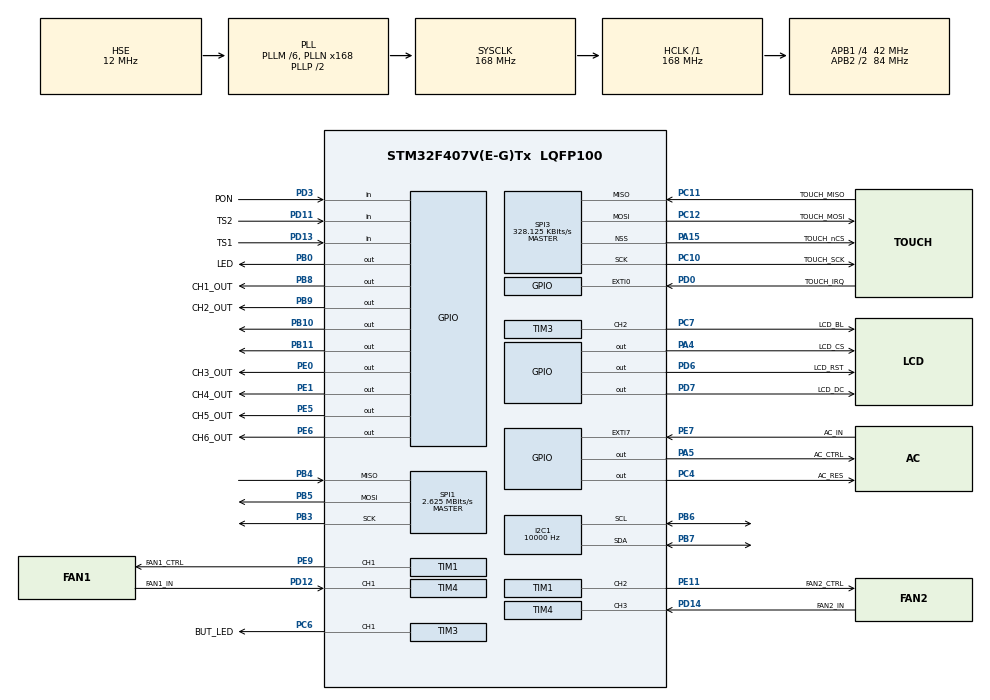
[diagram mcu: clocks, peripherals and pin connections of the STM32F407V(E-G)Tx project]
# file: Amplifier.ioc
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Dma.Request0=SPI1_TX
Dma.SPI1_TX.0.Direction=DMA_MEMORY_TO_PERIPH
Dma.SPI1_TX.0.FIFOMode=DMA_FIFOMODE_DISABLE
Dma.SPI1_TX.0.Instance=DMA2_Stream5
Dma.SPI1_TX.0.MemDataAlignment=DMA_MDATAALIGN_BYTE
Dma.SPI1_TX.0.MemInc=DMA_MINC_ENABLE
Dma.SPI1_TX.0.Mode=DMA_NORMAL
Dma.SPI1_TX.0.PeriphDataAlignment=DMA_PDATAALIGN_BYTE
Dma.SPI1_TX.0.PeriphInc=DMA_PINC_DISABLE
Dma.SPI1_TX.0.Priority=DMA_PRIORITY_VERY_HIGH
FREERTOS.Queues01=displayQueue,16,uint16_t,0,Dynamic,NULL,NULL;fanQueue,16,uint16_t,0,Dynamic,NULL,NULL
FREERTOS.Tasks01=idleTask,24,128,idleTaskEntry,Default,NULL,Dynamic,NULL,NULL;buttonTask,24,512,buttonTaskEntry,As external,NULL,Dynamic,NULL,NULL;fanTask,24,512,fanTaskEntry,As external,NULL,Dynamic,NULL,NULL;displayTask,24,512,displayTaskEntry,As external,NULL,Dynamic,NULL,NULL;touchTask,24,128,touchTaskEntry,As external,NULL,Dynamic,NULL,NULL;dspTask,24,128,dspTaskEntry,As external,NULL,Dynamic,NULL,NULL;sensorATask,24,128,sensorATaskEntry,As external,NULL,Dynamic,NULL,NULL
FREERTOS.configUSE_NEWLIB_REENTRANT=1
I2C1.ClockSpeed=10000
Mcu.Family=STM32F4
Mcu.Name=STM32F407V(E-G)Tx
Mcu.Package=LQFP100
NVIC.DMA2_Stream5_IRQn=true\:5\:0\:false\:false\:true\:false\:false\:true
NVIC.EXTI9_5_IRQn=true\:5\:0\:false\:false\:true\:true\:true\:true
NVIC.PriorityGroup=NVIC_PRIORITYGROUP_4
NVIC.TIM1_BRK_TIM9_IRQn=true\:5\:0\:false\:false\:true\:false\:false\:true
NVIC.TIM1_UP_TIM10_IRQn=true\:0\:0\:false\:false\:true\:false\:true\:true
NVIC.TimeBase=TIM1_UP_TIM10_IRQn
NVIC.TimeBaseIP=TIM10
PA13.Mode=Trace_Synchro_2bits_SW
PA13.Signal=SYS_JTMS-SWDIO
PA14.Mode=Trace_Synchro_2bits_SW
PA14.Signal=SYS_JTCK-SWCLK
PA15.GPIO_Label=TOUCH_nCS
PA15.GPIO_PuPd=GPIO_PULLUP
PA15.Mode=NSS_Signal_Hard_Output
PA15.Signal=SPI3_NSS
PA4.GPIO_Label=LCD_CS
PA4.GPIO_PuPd=GPIO_PULLUP
PA4.GPIO_Speed=GPIO_SPEED_FREQ_VERY_HIGH
PA4.PinState=GPIO_PIN_SET
PA4.Signal=GPIO_Output
PA5.GPIO_Label=AC_CTRL
PA5.GPIO_PuPd=GPIO_PULLDOWN
PA5.Signal=GPIO_Output
PB0.GPIO_Label=LED
PB0.Signal=GPIO_Output
PB10.GPIO_Speed=GPIO_SPEED_FREQ_VERY_HIGH
PB10.Signal=GPIO_Output
PB11.GPIO_Speed=GPIO_SPEED_FREQ_VERY_HIGH
PB11.Signal=GPIO_Output
PB3.GPIO_Mode=GPIO_MODE_AF_PP
PB3.GPIO_PuPd=GPIO_PULLUP
PB3.GPIO_Speed=GPIO_SPEED_FREQ_VERY_HIGH
PB3.Mode=Full_Duplex_Master
PB3.Signal=SPI1_SCK
PB4.GPIO_Mode=GPIO_MODE_AF_PP
PB4.GPIO_PuPd=GPIO_PULLUP
PB4.GPIO_Speed=GPIO_SPEED_FREQ_VERY_HIGH
PB4.Mode=Full_Duplex_Master
PB4.Signal=SPI1_MISO
PB5.GPIO_Mode=GPIO_MODE_AF_PP
PB5.GPIO_PuPd=GPIO_PULLUP
PB5.GPIO_Speed=GPIO_SPEED_FREQ_VERY_HIGH
PB5.Mode=Full_Duplex_Master
PB5.Signal=SPI1_MOSI
PB6.GPIO_Pu=GPIO_PULLUP
PB6.Mode=I2C
PB6.Signal=I2C1_SCL
PB7.GPIO_Pu=GPIO_PULLUP
PB7.Mode=I2C
PB7.Signal=I2C1_SDA
PB8.GPIO_Label=CH1_OUT
PB8.Signal=GPIO_Output
PB9.GPIO_Label=CH2_OUT
PB9.Signal=GPIO_Output
PC10.GPIO_Label=TOUCH_SCK
PC10.GPIO_PuPd=GPIO_PULLUP
PC10.Mode=Full_Duplex_Master
PC10.Signal=SPI3_SCK
PC11.GPIO_Label=TOUCH_MISO
PC11.GPIO_PuPd=GPIO_PULLUP
PC11.Mode=Full_Duplex_Master
PC11.Signal=SPI3_MISO
PC12.GPIO_Label=TOUCH_MOSI
PC12.GPIO_PuPd=GPIO_PULLUP
PC12.Mode=Full_Duplex_Master
PC12.Signal=SPI3_MOSI
PC2.GPIO_Label=CH5
PC2.Signal=ADCx_IN12
PC3.GPIO_Label=CH6
PC3.Signal=ADCx_IN13
PC4.GPIO_Label=AC_RES
PC4.GPIO_PuPd=GPIO_PULLDOWN
PC4.Signal=GPIO_Output
PC6.GPIO_Label=BUT_LED
PC6.Signal=S_TIM3_CH1
PC7.GPIO_Label=LCD_BL
PC7.Signal=S_TIM3_CH2
PD0.GPIO_Label=TOUCH_IRQ
PD0.GPIO_PuPd=GPIO_PULLUP
PD0.Signal=GPXTI0
PD11.GPIO_Label=TS2
PD11.Signal=GPIO_Input
PD12.GPIO_Label=FAN1_IN
PD12.Signal=S_TIM4_CH1
PD13.GPIO_Label=TS1
PD13.Signal=GPIO_Input
PD14.GPIO_Label=FAN2_IN
PD14.Signal=S_TIM4_CH3
PD3.GPIO_Label=PON
PD3.GPIO_PuPd=GPIO_PULLUP
PD3.Signal=GPIO_Input
PD6.GPIO_Label=LCD_RST
PD6.GPIO_PuPd=GPIO_PULLUP
PD6.PinState=GPIO_PIN_SET
PD6.Signal=GPIO_Output
PD7.GPIO_Label=LCD_DC
PD7.GPIO_ModeDefaultOutputPP=GPIO_MODE_OUTPUT_PP
PD7.GPIO_PuPd=GPIO_PULLUP
PD7.GPIO_Speed=GPIO_SPEED_FREQ_VERY_HIGH
PD7.PinState=GPIO_PIN_SET
PD7.Signal=GPIO_Output
PE0.GPIO_Label=CH3_OUT
PE0.Signal=GPIO_Output
PE1.GPIO_Label=CH4_OUT
PE1.Signal=GPIO_Output
PE11.GPIO_Label=FAN2_CTRL
PE11.Signal=S_TIM1_CH2
PE2.Mode=Trace_Synchro_2bits_SW
PE2.Signal=SYS_TRACECLK
PE3.Mode=Trace_Synchro_2bits_SW
PE3.Signal=SYS_TRACED0
PE4.Mode=Trace_Synchro_2bits_SW
PE4.Signal=SYS_TRACED1
PE5.GPIO_Label=CH5_OUT
PE5.Signal=GPIO_Output
PE6.GPIO_Label=CH6_OUT
PE6.Signal=GPIO_Output
PE7.GPIO_Label=AC_IN
PE7.GPIO_PuPd=GPIO_PULLUP
PE7.Signal=GPXTI7
PE9.GPIO_Label=FAN1_CTRL
PE9.Signal=S_TIM1_CH1
PH0-OSC_IN.Mode=HSE-External-Oscillator
PH0-OSC_IN.Signal=RCC_OSC_IN
PH1-OSC_OUT.Mode=HSE-External-Oscillator
PH1-OSC_OUT.Signal=RCC_OSC_OUT
ProjectManager.HeapSize=0x200
ProjectManager.StackSize=0x400
ProjectManager.TargetToolchain=STM32CubeIDE
RCC.48MHZClocksFreq_Value=48000000
RCC.AHBFreq_Value=168000000
RCC.APB1CLKDivider=RCC_HCLK_DIV4
RCC.APB1Freq_Value=42000000
RCC.APB1TimFreq_Value=84000000
RCC.APB2CLKDivider=RCC_HCLK_DIV2
RCC.APB2Freq_Value=84000000
RCC.APB2TimFreq_Value=168000000
RCC.CortexFreq_Value=168000000
RCC.HCLKFreq_Value=168000000
RCC.HSE_VALUE=12000000
RCC.HSICalibrationValue=8
RCC.HSI_VALUE=16000000
RCC.LSE_VALUE=32768
RCC.PLLM=6
RCC.PLLN=168
RCC.PLLQ=7
RCC.PLLSourceVirtual=RCC_PLLSOURCE_HSE
RCC.SYSCLKFreq_VALUE=168000000
RCC.SYSCLKSource=RCC_SYSCLKSOURCE_PLLCLK
RCC.VCOOutputFreq_Value=336000000
SH.ADCx_IN12.0=ADC3_IN12
SH.ADCx_IN13.0=ADC3_IN13
SH.S_TIM1_CH1.0=TIM1_CH1,PWM Generation1 CH1
SH.S_TIM1_CH2.0=TIM1_CH2,PWM Generation2 CH2
SH.S_TIM3_CH1.0=TIM3_CH1,PWM Generation1 CH1
SH.S_TIM3_CH2.0=TIM3_CH2,PWM Generation2 CH2
SH.S_TIM4_CH1.0=TIM4_CH1,Input_Capture1_from_TI1
SH.S_TIM4_CH3.0=TIM4_CH3,Input_Capture3_from_TI3
SPI1.BaudRatePrescaler=SPI_BAUDRATEPRESCALER_32
SPI1.CLKPhase=SPI_PHASE_1EDGE
SPI1.CLKPolarity=SPI_POLARITY_LOW
SPI1.CalculateBaudRate=2.625 MBits/s
SPI1.DataSize=SPI_DATASIZE_8BIT
SPI1.Direction=SPI_DIRECTION_2LINES
SPI1.Mode=SPI_MODE_MASTER
SPI1.VirtualType=VM_MASTER
SPI3.BaudRatePrescaler=SPI_BAUDRATEPRESCALER_128
SPI3.CalculateBaudRate=328.125 KBits/s
SPI3.Direction=SPI_DIRECTION_2LINES
SPI3.Mode=SPI_MODE_MASTER
SPI3.VirtualNSS=VM_NSSHARD
SPI3.VirtualType=VM_MASTER
TIM1.AutoReloadPreload=TIM_AUTORELOAD_PRELOAD_ENABLE
TIM1.Channel-PWM\ Generation1\ CH1=TIM_CHANNEL_1
TIM1.Channel-PWM\ Generation2\ CH2=TIM_CHANNEL_2
TIM1.ClockDivision=TIM_CLOCKDIVISION_DIV4
TIM1.Period=6700
TIM3.Channel-PWM\ Generation1\ CH1=TIM_CHANNEL_1
TIM3.Channel-PWM\ Generation2\ CH2=TIM_CHANNEL_2
TIM4.Channel-Input_Capture1_from_TI1=TIM_CHANNEL_1
TIM4.Channel-Input_Capture3_from_TI3=TIM_CHANNEL_3
TIM5.AutoReloadPreload=TIM_AUTORELOAD_PRELOAD_DISABLE
TIM5.Period=0xFFFFFFFE
TIM5.Prescaler=84-1
VP_FREERTOS_VS_CMSIS_V2.Mode=CMSIS_V2
VP_RTC_VS_RTC_Activate.Mode=RTC_Enabled
VP_SYS_VS_tim10.Mode=TIM10
VP_TIM1_VS_ClockSourceINT.Mode=Internal
VP_TIM4_VS_ClockSourceINT.Mode=Internal
VP_TIM5_VS_ClockSourceINT.Mode=Internal
board=custom

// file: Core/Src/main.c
/* USER CODE BEGIN Header */
/**
  ******************************************************************************
  * @file           : main.c
  * @brief          : Main program body
  ******************************************************************************
  * @attention
  *
  * <h2><center>&copy; Copyright (c) 2021 STMicroelectronics.
  * All rights reserved.</center></h2>
  *
  * This software component is licensed by ST under Ultimate Liberty license
  * SLA0044, the "License"; You may not use this file except in compliance with
  * the License. You may obtain a copy of the License at:
  *                             www.st.com/SLA0044
  *
  ******************************************************************************
  */
/* USER CODE END Header */
#include "main.h"
#include "cmsis_os.h"

/* USER CODE BEGIN PD */
extern uint8_t touch_pending;
extern uint8_t state;
I2C_HandleTypeDef hi2c2;
static void MX_I2C2_Init(void);
/* USER CODE END PD */

I2C_HandleTypeDef hi2c1;

RTC_HandleTypeDef hrtc;

SPI_HandleTypeDef hspi1;
SPI_HandleTypeDef hspi3;
DMA_HandleTypeDef hdma_spi1_tx;

TIM_HandleTypeDef htim1;
TIM_HandleTypeDef htim3;
TIM_HandleTypeDef htim4;
TIM_HandleTypeDef htim5;

/* Definitions for idleTask */
osThreadId_t idleTaskHandle;
const osThreadAttr_t idleTask_attributes = {
  .name = "idleTask",
  .stack_size = 128 * 4,
  .priority = (osPriority_t) osPriorityNormal,
};
/* Definitions for buttonTask */
osThreadId_t buttonTaskHandle;
const osThreadAttr_t buttonTask_attributes = {
  .name = "buttonTask",
  .stack_size = 512 * 4,
  .priority = (osPriority_t) osPriorityNormal,
};
/* Definitions for fanTask */
osThreadId_t fanTaskHandle;
const osThreadAttr_t fanTask_attributes = {
  .name = "fanTask",
  .stack_size = 512 * 4,
  .priority = (osPriority_t) osPriorityNormal,
};
/* Definitions for displayTask */
osThreadId_t displayTaskHandle;
const osThreadAttr_t displayTask_attributes = {
  .name = "displayTask",
  .stack_size = 512 * 4,
  .priority = (osPriority_t) osPriorityNormal,
};
/* Definitions for touchTask */
osThreadId_t touchTaskHandle;
const osThreadAttr_t touchTask_attributes = {
  .name = "touchTask",
  .stack_size = 128 * 4,
  .priority = (osPriority_t) osPriorityNormal,
};
/* Definitions for dspTask */
osThreadId_t dspTaskHandle;
const osThreadAttr_t dspTask_attributes = {
  .name = "dspTask",
  .stack_size = 128 * 4,
  .priority = (osPriority_t) osPriorityNormal,
};
/* Definitions for sensorATask */
osThreadId_t sensorATaskHandle;
const osThreadAttr_t sensorATask_attributes = {
  .name = "sensorATask",
  .stack_size = 128 * 4,
  .priority = (osPriority_t) osPriorityNormal,
};
/* Definitions for displayQueue */
osMessageQueueId_t displayQueueHandle;
const osMessageQueueAttr_t displayQueue_attributes = {
  .name = "displayQueue"
};
/* Definitions for fanQueue */
osMessageQueueId_t fanQueueHandle;
const osMessageQueueAttr_t fanQueue_attributes = {
  .name = "fanQueue"
};

void SystemClock_Config(void);
static void MX_GPIO_Init(void);
static void MX_DMA_Init(void);
static void MX_RTC_Init(void);
static void MX_SPI1_Init(void);
static void MX_SPI3_Init(void);
static void MX_TIM1_Init(void);
static void MX_TIM3_Init(void);
static void MX_TIM4_Init(void);
static void MX_TIM5_Init(void);
static void MX_I2C1_Init(void);
void idleTaskEntry(void *argument);
extern void buttonTaskEntry(void *argument);
extern void fanTaskEntry(void *argument);
extern void displayTaskEntry(void *argument);
extern void touchTaskEntry(void *argument);
extern void dspTaskEntry(void *argument);
extern void sensorATaskEntry(void *argument);

int main(void)
{

  /* MCU Configuration--------------------------------------------------------*/

  /* Reset of all peripherals, Initializes the Flash interface and the Systick. */
  HAL_Init();

  /* Configure the system clock */
  SystemClock_Config();

  /* Initialize all configured peripherals */
  MX_GPIO_Init();
  MX_DMA_Init();
  MX_RTC_Init();
  MX_SPI1_Init();
  MX_SPI3_Init();
  MX_TIM1_Init();
  MX_TIM3_Init();
  MX_TIM4_Init();
  MX_TIM5_Init();
  MX_I2C1_Init();
  /* USER CODE BEGIN 2 */
  //MX_I2C2_Init();
  /* USER CODE END 2 */

  /* Init scheduler */
  osKernelInitialize();

  /* Create the queue(s) */
  /* creation of displayQueue */
  displayQueueHandle = osMessageQueueNew (16, sizeof(uint16_t), &displayQueue_attributes);

  /* creation of fanQueue */
  fanQueueHandle = osMessageQueueNew (16, sizeof(uint16_t), &fanQueue_attributes);

  /* Create the thread(s) */
  /* creation of idleTask */
  idleTaskHandle = osThreadNew(idleTaskEntry, NULL, &idleTask_attributes);

  /* creation of buttonTask */
  buttonTaskHandle = osThreadNew(buttonTaskEntry, NULL, &buttonTask_attributes);

  /* creation of fanTask */
  fanTaskHandle = osThreadNew(fanTaskEntry, NULL, &fanTask_attributes);

  /* creation of displayTask */
  displayTaskHandle = osThreadNew(displayTaskEntry, NULL, &displayTask_attributes);

  /* creation of touchTask */
  touchTaskHandle = osThreadNew(touchTaskEntry, NULL, &touchTask_attributes);

  /* creation of dspTask */
  dspTaskHandle = osThreadNew(dspTaskEntry, NULL, &dspTask_attributes);

  /* creation of sensorATask */
  sensorATaskHandle = osThreadNew(sensorATaskEntry, NULL, &sensorATask_attributes);

  /* Start scheduler */
  osKernelStart();

  /* We should never get here as control is now taken by the scheduler */
  /* Infinite loop */
  while (1)
  {

  }
}

void SystemClock_Config(void)
{
  RCC_OscInitTypeDef RCC_OscInitStruct = {0};
  RCC_ClkInitTypeDef RCC_ClkInitStruct = {0};

  /** Configure the main internal regulator output voltage
  */
  __HAL_RCC_PWR_CLK_ENABLE();
  __HAL_PWR_VOLTAGESCALING_CONFIG(PWR_REGULATOR_VOLTAGE_SCALE1);
  /** Initializes the RCC Oscillators according to the specified parameters
  * in the RCC_OscInitTypeDef structure.
  */
  RCC_OscInitStruct.OscillatorType = RCC_OSCILLATORTYPE_LSI|RCC_OSCILLATORTYPE_HSE;
  RCC_OscInitStruct.HSEState = RCC_HSE_ON;
  RCC_OscInitStruct.LSIState = RCC_LSI_ON;
  RCC_OscInitStruct.PLL.PLLState = RCC_PLL_ON;
  RCC_OscInitStruct.PLL.PLLSource = RCC_PLLSOURCE_HSE;
  RCC_OscInitStruct.PLL.PLLM = 6;
  RCC_OscInitStruct.PLL.PLLN = 168;
  RCC_OscInitStruct.PLL.PLLP = RCC_PLLP_DIV2;
  RCC_OscInitStruct.PLL.PLLQ = 7;
  if (HAL_RCC_OscConfig(&RCC_OscInitStruct) != HAL_OK)
  {
    Error_Handler();
  }
  /** Initializes the CPU, AHB and APB buses clocks
  */
  RCC_ClkInitStruct.ClockType = RCC_CLOCKTYPE_HCLK|RCC_CLOCKTYPE_SYSCLK
                              |RCC_CLOCKTYPE_PCLK1|RCC_CLOCKTYPE_PCLK2;
  RCC_ClkInitStruct.SYSCLKSource = RCC_SYSCLKSOURCE_PLLCLK;
  RCC_ClkInitStruct.AHBCLKDivider = RCC_SYSCLK_DIV1;
  RCC_ClkInitStruct.APB1CLKDivider = RCC_HCLK_DIV4;
  RCC_ClkInitStruct.APB2CLKDivider = RCC_HCLK_DIV2;

  if (HAL_RCC_ClockConfig(&RCC_ClkInitStruct, FLASH_LATENCY_5) != HAL_OK)
  {
    Error_Handler();
  }
}

static void MX_I2C1_Init(void)
{

  hi2c1.Instance = I2C1;
  hi2c1.Init.ClockSpeed = 10000;
  hi2c1.Init.DutyCycle = I2C_DUTYCYCLE_2;
  hi2c1.Init.OwnAddress1 = 0;
  hi2c1.Init.AddressingMode = I2C_ADDRESSINGMODE_7BIT;
  hi2c1.Init.DualAddressMode = I2C_DUALADDRESS_DISABLE;
  hi2c1.Init.OwnAddress2 = 0;
  hi2c1.Init.GeneralCallMode = I2C_GENERALCALL_DISABLE;
  hi2c1.Init.NoStretchMode = I2C_NOSTRETCH_DISABLE;
  if (HAL_I2C_Init(&hi2c1) != HAL_OK)
  {
    Error_Handler();
  }

}

static void MX_RTC_Init(void)
{

  /** Initialize RTC Only
  */
  hrtc.Instance = RTC;
  hrtc.Init.HourFormat = RTC_HOURFORMAT_24;
  hrtc.Init.AsynchPrediv = 127;
  hrtc.Init.SynchPrediv = 255;
  hrtc.Init.OutPut = RTC_OUTPUT_DISABLE;
  hrtc.Init.OutPutPolarity = RTC_OUTPUT_POLARITY_HIGH;
  hrtc.Init.OutPutType = RTC_OUTPUT_TYPE_OPENDRAIN;
  if (HAL_RTC_Init(&hrtc) != HAL_OK)
  {
    Error_Handler();
  }

}

static void MX_SPI1_Init(void)
{

  /* SPI1 parameter configuration*/
  hspi1.Instance = SPI1;
  hspi1.Init.Mode = SPI_MODE_MASTER;
  hspi1.Init.Direction = SPI_DIRECTION_2LINES;
  hspi1.Init.DataSize = SPI_DATASIZE_8BIT;
  hspi1.Init.CLKPolarity = SPI_POLARITY_LOW;
  hspi1.Init.CLKPhase = SPI_PHASE_1EDGE;
  hspi1.Init.NSS = SPI_NSS_SOFT;
  hspi1.Init.BaudRatePrescaler = SPI_BAUDRATEPRESCALER_32;
  hspi1.Init.FirstBit = SPI_FIRSTBIT_MSB;
  hspi1.Init.TIMode = SPI_TIMODE_DISABLE;
  hspi1.Init.CRCCalculation = SPI_CRCCALCULATION_DISABLE;
  hspi1.Init.CRCPolynomial = 10;
  if (HAL_SPI_Init(&hspi1) != HAL_OK)
  {
    Error_Handler();
  }

}

static void MX_SPI3_Init(void)
{

  /* SPI3 parameter configuration*/
  hspi3.Instance = SPI3;
  hspi3.Init.Mode = SPI_MODE_MASTER;
  hspi3.Init.Direction = SPI_DIRECTION_2LINES;
  hspi3.Init.DataSize = SPI_DATASIZE_8BIT;
  hspi3.Init.CLKPolarity = SPI_POLARITY_LOW;
  hspi3.Init.CLKPhase = SPI_PHASE_1EDGE;
  hspi3.Init.NSS = SPI_NSS_HARD_OUTPUT;
  hspi3.Init.BaudRatePrescaler = SPI_BAUDRATEPRESCALER_128;
  hspi3.Init.FirstBit = SPI_FIRSTBIT_MSB;
  hspi3.Init.TIMode = SPI_TIMODE_DISABLE;
  hspi3.Init.CRCCalculation = SPI_CRCCALCULATION_DISABLE;
  hspi3.Init.CRCPolynomial = 10;
  if (HAL_SPI_Init(&hspi3) != HAL_OK)
  {
    Error_Handler();
  }

}

static void MX_TIM1_Init(void)
{

  TIM_ClockConfigTypeDef sClockSourceConfig = {0};
  TIM_MasterConfigTypeDef sMasterConfig = {0};
  TIM_OC_InitTypeDef sConfigOC = {0};
  TIM_BreakDeadTimeConfigTypeDef sBreakDeadTimeConfig = {0};

  htim1.Instance = TIM1;
  htim1.Init.Prescaler = 0;
  htim1.Init.CounterMode = TIM_COUNTERMODE_UP;
  htim1.Init.Period = 6700;
  htim1.Init.ClockDivision = TIM_CLOCKDIVISION_DIV4;
  htim1.Init.RepetitionCounter = 0;
  htim1.Init.AutoReloadPreload = TIM_AUTORELOAD_PRELOAD_ENABLE;
  if (HAL_TIM_Base_Init(&htim1) != HAL_OK)
  {
    Error_Handler();
  }
  sClockSourceConfig.ClockSource = TIM_CLOCKSOURCE_INTERNAL;
  if (HAL_TIM_ConfigClockSource(&htim1, &sClockSourceConfig) != HAL_OK)
  {
    Error_Handler();
  }
  if (HAL_TIM_PWM_Init(&htim1) != HAL_OK)
  {
    Error_Handler();
  }
  sMasterConfig.MasterOutputTrigger = TIM_TRGO_RESET;
  sMasterConfig.MasterSlaveMode = TIM_MASTERSLAVEMODE_DISABLE;
  if (HAL_TIMEx_MasterConfigSynchronization(&htim1, &sMasterConfig) != HAL_OK)
  {
    Error_Handler();
  }
  sConfigOC.OCMode = TIM_OCMODE_PWM1;
  sConfigOC.Pulse = 0;
  sConfigOC.OCPolarity = TIM_OCPOLARITY_HIGH;
  sConfigOC.OCNPolarity = TIM_OCNPOLARITY_HIGH;
  sConfigOC.OCFastMode = TIM_OCFAST_DISABLE;
  sConfigOC.OCIdleState = TIM_OCIDLESTATE_RESET;
  sConfigOC.OCNIdleState = TIM_OCNIDLESTATE_RESET;
  if (HAL_TIM_PWM_ConfigChannel(&htim1, &sConfigOC, TIM_CHANNEL_1) != HAL_OK)
  {
    Error_Handler();
  }
  if (HAL_TIM_PWM_ConfigChannel(&htim1, &sConfigOC, TIM_CHANNEL_2) != HAL_OK)
  {
    Error_Handler();
  }
  sBreakDeadTimeConfig.OffStateRunMode = TIM_OSSR_DISABLE;
  sBreakDeadTimeConfig.OffStateIDLEMode = TIM_OSSI_DISABLE;
  sBreakDeadTimeConfig.LockLevel = TIM_LOCKLEVEL_OFF;
  sBreakDeadTimeConfig.DeadTime = 0;
  sBreakDeadTimeConfig.BreakState = TIM_BREAK_DISABLE;
  sBreakDeadTimeConfig.BreakPolarity = TIM_BREAKPOLARITY_HIGH;
  sBreakDeadTimeConfig.AutomaticOutput = TIM_AUTOMATICOUTPUT_DISABLE;
  if (HAL_TIMEx_ConfigBreakDeadTime(&htim1, &sBreakDeadTimeConfig) != HAL_OK)
  {
    Error_Handler();
  }
  HAL_TIM_MspPostInit(&htim1);

}

static void MX_TIM3_Init(void)
{

  TIM_MasterConfigTypeDef sMasterConfig = {0};
  TIM_OC_InitTypeDef sConfigOC = {0};

  htim3.Instance = TIM3;
  htim3.Init.Prescaler = 0;
  htim3.Init.CounterMode = TIM_COUNTERMODE_UP;
  htim3.Init.Period = 65535;
  htim3.Init.ClockDivision = TIM_CLOCKDIVISION_DIV1;
  htim3.Init.AutoReloadPreload = TIM_AUTORELOAD_PRELOAD_DISABLE;
  if (HAL_TIM_PWM_Init(&htim3) != HAL_OK)
  {
    Error_Handler();
  }
  sMasterConfig.MasterOutputTrigger = TIM_TRGO_RESET;
  sMasterConfig.MasterSlaveMode = TIM_MASTERSLAVEMODE_DISABLE;
  if (HAL_TIMEx_MasterConfigSynchronization(&htim3, &sMasterConfig) != HAL_OK)
  {
    Error_Handler();
  }
  sConfigOC.OCMode = TIM_OCMODE_PWM1;
  sConfigOC.Pulse = 0;
  sConfigOC.OCPolarity = TIM_OCPOLARITY_HIGH;
  sConfigOC.OCFastMode = TIM_OCFAST_DISABLE;
  if (HAL_TIM_PWM_ConfigChannel(&htim3, &sConfigOC, TIM_CHANNEL_1) != HAL_OK)
  {
    Error_Handler();
  }
  if (HAL_TIM_PWM_ConfigChannel(&htim3, &sConfigOC, TIM_CHANNEL_2) != HAL_OK)
  {
    Error_Handler();
  }
  HAL_TIM_MspPostInit(&htim3);

}

static void MX_TIM4_Init(void)
{

  TIM_ClockConfigTypeDef sClockSourceConfig = {0};
  TIM_MasterConfigTypeDef sMasterConfig = {0};
  TIM_IC_InitTypeDef sConfigIC = {0};

  htim4.Instance = TIM4;
  htim4.Init.Prescaler = 0;
  htim4.Init.CounterMode = TIM_COUNTERMODE_UP;
  htim4.Init.Period = 65535;
  htim4.Init.ClockDivision = TIM_CLOCKDIVISION_DIV1;
  htim4.Init.AutoReloadPreload = TIM_AUTORELOAD_PRELOAD_DISABLE;
  if (HAL_TIM_Base_Init(&htim4) != HAL_OK)
  {
    Error_Handler();
  }
  sClockSourceConfig.ClockSource = TIM_CLOCKSOURCE_INTERNAL;
  if (HAL_TIM_ConfigClockSource(&htim4, &sClockSourceConfig) != HAL_OK)
  {
    Error_Handler();
  }
  if (HAL_TIM_IC_Init(&htim4) != HAL_OK)
  {
    Error_Handler();
  }
  sMasterConfig.MasterOutputTrigger = TIM_TRGO_RESET;
  sMasterConfig.MasterSlaveMode = TIM_MASTERSLAVEMODE_DISABLE;
  if (HAL_TIMEx_MasterConfigSynchronization(&htim4, &sMasterConfig) != HAL_OK)
  {
    Error_Handler();
  }
  sConfigIC.ICPolarity = TIM_INPUTCHANNELPOLARITY_RISING;
  sConfigIC.ICSelection = TIM_ICSELECTION_DIRECTTI;
  sConfigIC.ICPrescaler = TIM_ICPSC_DIV1;
  sConfigIC.ICFilter = 0;
  if (HAL_TIM_IC_ConfigChannel(&htim4, &sConfigIC, TIM_CHANNEL_1) != HAL_OK)
  {
    Error_Handler();
  }
  if (HAL_TIM_IC_ConfigChannel(&htim4, &sConfigIC, TIM_CHANNEL_3) != HAL_OK)
  {
    Error_Handler();
  }

}

static void MX_TIM5_Init(void)
{

  TIM_ClockConfigTypeDef sClockSourceConfig = {0};
  TIM_MasterConfigTypeDef sMasterConfig = {0};

  htim5.Instance = TIM5;
  htim5.Init.Prescaler = 84-1;
  htim5.Init.CounterMode = TIM_COUNTERMODE_UP;
  htim5.Init.Period = 0xFFFFFFFE;
  htim5.Init.ClockDivision = TIM_CLOCKDIVISION_DIV1;
  htim5.Init.AutoReloadPreload = TIM_AUTORELOAD_PRELOAD_DISABLE;
  if (HAL_TIM_Base_Init(&htim5) != HAL_OK)
  {
    Error_Handler();
  }
  sClockSourceConfig.ClockSource = TIM_CLOCKSOURCE_INTERNAL;
  if (HAL_TIM_ConfigClockSource(&htim5, &sClockSourceConfig) != HAL_OK)
  {
    Error_Handler();
  }
  sMasterConfig.MasterOutputTrigger = TIM_TRGO_RESET;
  sMasterConfig.MasterSlaveMode = TIM_MASTERSLAVEMODE_DISABLE;
  if (HAL_TIMEx_MasterConfigSynchronization(&htim5, &sMasterConfig) != HAL_OK)
  {
    Error_Handler();
  }

}

static void MX_DMA_Init(void)
{

  /* DMA controller clock enable */
  __HAL_RCC_DMA2_CLK_ENABLE();

  /* DMA interrupt init */
  /* DMA2_Stream5_IRQn interrupt configuration */
  HAL_NVIC_SetPriority(DMA2_Stream5_IRQn, 5, 0);
  HAL_NVIC_EnableIRQ(DMA2_Stream5_IRQn);

}

static void MX_GPIO_Init(void)
{
  GPIO_InitTypeDef GPIO_InitStruct = {0};

  /* GPIO Ports Clock Enable */
  __HAL_RCC_GPIOE_CLK_ENABLE();
  __HAL_RCC_GPIOH_CLK_ENABLE();
  __HAL_RCC_GPIOC_CLK_ENABLE();
  __HAL_RCC_GPIOA_CLK_ENABLE();
  __HAL_RCC_GPIOB_CLK_ENABLE();
  __HAL_RCC_GPIOD_CLK_ENABLE();

  /*Configure GPIO pin Output Level */
  HAL_GPIO_WritePin(GPIOE, CH5_OUT_Pin|CH6_OUT_Pin|CH3_OUT_Pin|CH4_OUT_Pin, GPIO_PIN_RESET);

  /*Configure GPIO pin Output Level */
  HAL_GPIO_WritePin(LCD_CS_GPIO_Port, LCD_CS_Pin, GPIO_PIN_SET);

  /*Configure GPIO pin Output Level */
  HAL_GPIO_WritePin(AC_CTRL_GPIO_Port, AC_CTRL_Pin, GPIO_PIN_RESET);

  /*Configure GPIO pin Output Level */
  HAL_GPIO_WritePin(AC_RES_GPIO_Port, AC_RES_Pin, GPIO_PIN_RESET);

  /*Configure GPIO pin Output Level */
  HAL_GPIO_WritePin(GPIOB, LED_Pin|GPIO_PIN_10|GPIO_PIN_11|CH1_OUT_Pin
                          |CH2_OUT_Pin, GPIO_PIN_RESET);

  /*Configure GPIO pin Output Level */
  HAL_GPIO_WritePin(GPIOD, LCD_RST_Pin|LCD_DC_Pin, GPIO_PIN_SET);

  /*Configure GPIO pins : CH5_OUT_Pin CH6_OUT_Pin CH3_OUT_Pin CH4_OUT_Pin */
  GPIO_InitStruct.Pin = CH5_OUT_Pin|CH6_OUT_Pin|CH3_OUT_Pin|CH4_OUT_Pin;
  GPIO_InitStruct.Mode = GPIO_MODE_OUTPUT_PP;
  GPIO_InitStruct.Pull = GPIO_NOPULL;
  GPIO_InitStruct.Speed = GPIO_SPEED_FREQ_LOW;
  HAL_GPIO_Init(GPIOE, &GPIO_InitStruct);

  /*Configure GPIO pins : CH5_Pin CH6_Pin */
  GPIO_InitStruct.Pin = CH5_Pin|CH6_Pin;
  GPIO_InitStruct.Mode = GPIO_MODE_ANALOG;
  GPIO_InitStruct.Pull = GPIO_NOPULL;
  HAL_GPIO_Init(GPIOC, &GPIO_InitStruct);

  /*Configure GPIO pin : LCD_CS_Pin */
  GPIO_InitStruct.Pin = LCD_CS_Pin;
  GPIO_InitStruct.Mode = GPIO_MODE_OUTPUT_PP;
  GPIO_InitStruct.Pull = GPIO_PULLUP;
  GPIO_InitStruct.Speed = GPIO_SPEED_FREQ_VERY_HIGH;
  HAL_GPIO_Init(LCD_CS_GPIO_Port, &GPIO_InitStruct);

  /*Configure GPIO pin : AC_CTRL_Pin */
  GPIO_InitStruct.Pin = AC_CTRL_Pin;
  GPIO_InitStruct.Mode = GPIO_MODE_OUTPUT_PP;
  GPIO_InitStruct.Pull = GPIO_PULLDOWN;
  GPIO_InitStruct.Speed = GPIO_SPEED_FREQ_LOW;
  HAL_GPIO_Init(AC_CTRL_GPIO_Port, &GPIO_InitStruct);

  /*Configure GPIO pin : AC_RES_Pin */
  GPIO_InitStruct.Pin = AC_RES_Pin;
  GPIO_InitStruct.Mode = GPIO_MODE_OUTPUT_PP;
  GPIO_InitStruct.Pull = GPIO_PULLDOWN;
  GPIO_InitStruct.Speed = GPIO_SPEED_FREQ_LOW;
  HAL_GPIO_Init(AC_RES_GPIO_Port, &GPIO_InitStruct);

  /*Configure GPIO pins : LED_Pin CH1_OUT_Pin CH2_OUT_Pin */
  GPIO_InitStruct.Pin = LED_Pin|CH1_OUT_Pin|CH2_OUT_Pin;
  GPIO_InitStruct.Mode = GPIO_MODE_OUTPUT_PP;
  GPIO_InitStruct.Pull = GPIO_NOPULL;
  GPIO_InitStruct.Speed = GPIO_SPEED_FREQ_LOW;
  HAL_GPIO_Init(GPIOB, &GPIO_InitStruct);

  /*Configure GPIO pin : AC_IN_Pin */
  GPIO_InitStruct.Pin = AC_IN_Pin;
  GPIO_InitStruct.Mode = GPIO_MODE_IT_RISING;
  GPIO_InitStruct.Pull = GPIO_PULLUP;
  HAL_GPIO_Init(AC_IN_GPIO_Port, &GPIO_InitStruct);

  /*Configure GPIO pins : PB10 PB11 */
  GPIO_InitStruct.Pin = GPIO_PIN_10|GPIO_PIN_11;
  GPIO_InitStruct.Mode = GPIO_MODE_OUTPUT_PP;
  GPIO_InitStruct.Pull = GPIO_NOPULL;
  GPIO_InitStruct.Speed = GPIO_SPEED_FREQ_VERY_HIGH;
  HAL_GPIO_Init(GPIOB, &GPIO_InitStruct);

  /*Configure GPIO pins : TS2_Pin TS1_Pin */
  GPIO_InitStruct.Pin = TS2_Pin|TS1_Pin;
  GPIO_InitStruct.Mode = GPIO_MODE_INPUT;
  GPIO_InitStruct.Pull = GPIO_NOPULL;
  HAL_GPIO_Init(GPIOD, &GPIO_InitStruct);

  /*Configure GPIO pin : TOUCH_IRQ_Pin */
  GPIO_InitStruct.Pin = TOUCH_IRQ_Pin;
  GPIO_InitStruct.Mode = GPIO_MODE_IT_RISING;
  GPIO_InitStruct.Pull = GPIO_PULLUP;
  HAL_GPIO_Init(TOUCH_IRQ_GPIO_Port, &GPIO_InitStruct);

  /*Configure GPIO pin : PON_Pin */
  GPIO_InitStruct.Pin = PON_Pin;
  GPIO_InitStruct.Mode = GPIO_MODE_INPUT;
  GPIO_InitStruct.Pull = GPIO_PULLUP;
  HAL_GPIO_Init(PON_GPIO_Port, &GPIO_InitStruct);

  /*Configure GPIO pin : LCD_RST_Pin */
  GPIO_InitStruct.Pin = LCD_RST_Pin;
  GPIO_InitStruct.Mode = GPIO_MODE_OUTPUT_PP;
  GPIO_InitStruct.Pull = GPIO_PULLUP;
  GPIO_InitStruct.Speed = GPIO_SPEED_FREQ_LOW;
  HAL_GPIO_Init(LCD_RST_GPIO_Port, &GPIO_InitStruct);

  /*Configure GPIO pin : LCD_DC_Pin */
  GPIO_InitStruct.Pin = LCD_DC_Pin;
  GPIO_InitStruct.Mode = GPIO_MODE_OUTPUT_PP;
  GPIO_InitStruct.Pull = GPIO_PULLUP;
  GPIO_InitStruct.Speed = GPIO_SPEED_FREQ_VERY_HIGH;
  HAL_GPIO_Init(LCD_DC_GPIO_Port, &GPIO_InitStruct);

  /* EXTI interrupt init*/
  HAL_NVIC_SetPriority(EXTI9_5_IRQn, 5, 0);
  HAL_NVIC_EnableIRQ(EXTI9_5_IRQn);

}

/* USER CODE BEGIN 4 */
void HAL_GPIO_EXTI_Callback(uint16_t GPIO_Pin)
{
	if (TOUCH_IRQ_Pin & GPIO_Pin) {
	  touch_pending = 1;
	}
	if (AC_IN_Pin & GPIO_Pin) {
	  if (state == SS_REQUEST) {
		HAL_GPIO_WritePin(AC_RES_GPIO_Port, AC_RES_Pin, GPIO_PIN_SET);
	    state++;
	  }
	  if (state == XFR_ON) {
		HAL_GPIO_WritePin(AC_CTRL_GPIO_Port, AC_CTRL_Pin, GPIO_PIN_SET);
		HAL_GPIO_WritePin(AC_RES_GPIO_Port, AC_RES_Pin, GPIO_PIN_RESET);
	    state++;
	  }
	  if (state == SB_REQUEST) {
		HAL_GPIO_WritePin(AC_CTRL_GPIO_Port, AC_CTRL_Pin, GPIO_PIN_RESET);
		HAL_GPIO_WritePin(AC_RES_GPIO_Port, AC_RES_Pin, GPIO_PIN_RESET);
	    state++;
	  }
	}
}

static void MX_I2C2_Init(void)
{

  /* USER CODE BEGIN I2C2_Init 0 */

  /* USER CODE END I2C2_Init 0 */

  /* USER CODE BEGIN I2C2_Init 1 */

  /* USER CODE END I2C2_Init 1 */
  hi2c2.Instance = I2C2;
  hi2c2.Init.ClockSpeed = 100000;
  hi2c2.Init.DutyCycle = I2C_DUTYCYCLE_2;
  hi2c2.Init.OwnAddress1 = 0;
  hi2c2.Init.AddressingMode = I2C_ADDRESSINGMODE_7BIT;
  hi2c2.Init.DualAddressMode = I2C_DUALADDRESS_DISABLE;
  hi2c2.Init.OwnAddress2 = 0;
  hi2c2.Init.GeneralCallMode = I2C_GENERALCALL_DISABLE;
  hi2c2.Init.NoStretchMode = I2C_NOSTRETCH_DISABLE;
  if (HAL_I2C_Init(&hi2c2) != HAL_OK)
  {
    Error_Handler();
  }
  /* USER CODE BEGIN I2C2_Init 2 */

  /* USER CODE END I2C2_Init 2 */

}
/* USER CODE END 4 */

void idleTaskEntry(void *argument)
{
  /* USER CODE BEGIN 5 */
  /* Infinite loop */
  for(;;)
  {
    // Status LED blinking
    HAL_GPIO_WritePin(LED_GPIO_Port, LED_Pin, GPIO_PIN_SET);
    osDelay(100);
    HAL_GPIO_WritePin(LED_GPIO_Port, LED_Pin, GPIO_PIN_RESET);
	osDelay(100);
  }
  /* USER CODE END 5 */
}

void HAL_TIM_PeriodElapsedCallback(TIM_HandleTypeDef *htim)
{
  if (htim->Instance == TIM10) {
    HAL_IncTick();
  }
}

void Error_Handler(void)
{
  __disable_irq();
  while (1)
  {
  }
}

/************************ (C) COPYRIGHT STMicroelectronics *****END OF FILE****/
